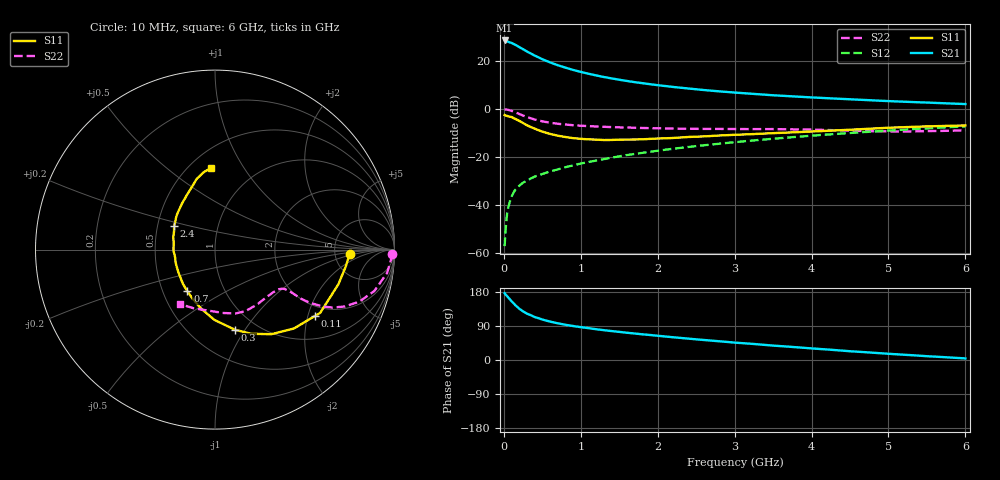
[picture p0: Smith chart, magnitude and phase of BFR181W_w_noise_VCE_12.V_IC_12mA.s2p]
! Infineon Technologies  Discrete & RF Semiconductors
! BFR181W
! VCE =  12. V,  IC =  12 mA
! Common Emitter S-Parameters:  Jan 2017
# GHz  S  MA  R  50
!  f  S11  S21  S12  S22
! GHz  MAG  ANG  MAG  ANG  MAG  ANG  MAG  ANG
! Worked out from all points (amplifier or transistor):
!   77 points, 10 MHz to 6 GHz, reference 50 ohm
!   highest |S21| = 28.5 dB at 10 MHz (marker M1)
!   |S21| within 3 dB of that: start of sweep to 214.4 MHz
!   unconditionally stable (mu >= 1): 1.061 GHz to 2.925 GHz
!   at 130 MHz: K = 0.30, MSG = 30.8 dB, |S12| = -34.6 dB
!   at 2.2 GHz: K = 1.04, MAG = 11.6 dB, |S12| = -16.5 dB
!   at 6 GHz: K = 0.85, MSG = 4.6 dB, |S12| = -7.2 dB
!   lowest NFmin = 1.34 dB at 450 MHz
!   S11 on the Smith chart (normalised r, x): 10 MHz: 6.91, -0.83; 110 MHz: 1.66, -2.22; 300 MHz: 0.80, -0.90; 700 MHz: 0.67, -0.34; 2.4 GHz: 0.61, +0.17; 6 GHz: 0.63, +0.73
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0.01  0.7504 -2.0  26.73 176.3  0.0014 63.3  0.9859 -1.4
0.02  0.7341 -7.5  26.07 173.4  0.0026 88.6  0.9845 -2.8
0.05  0.7141 -15.7  25.38 166.7  0.0079 76.1  0.9678 -7.7
0.1  0.6839 -31.0  23.76 154.8  0.015 74.6  0.9169 -14.6
0.11  0.6686 -33.6  23.29 152.9  0.0162 73.6  0.9036 -15.6
0.15  0.6222 -44.9  21.7 144.5  0.021 70.6  0.8536 -19.9
0.2  0.567 -56.2  19.5 135.5  0.0253 67.9  0.7891 -23.7
0.25  0.5113 -66.6  17.56 128.3  0.0294 64.5  0.7311 -26.2
0.3  0.4603 -76.0  15.75 122.4  0.0324 63.1  0.6799 -27.8
0.4  0.3915 -90.5  12.97 113.4  0.0392 62.3  0.6057 -29.3
0.5  0.3388 -102.9  10.88 106.8  0.0444 62.7  0.5543 -29.7
0.6  0.3036 -113.6  9.355 101.4  0.0503 63.3  0.5191 -29.5
0.7  0.2788 -123.5  8.168 96.9  0.0553 64.9  0.4934 -29.3
0.9  0.248 -140.7  6.514 89.7  0.0672 65.7  0.4611 -29.3
1.1  0.2339 -155.3  5.427 84.0  0.0791 67.2  0.4413 -29.7
1.5  0.2311 -177.4  4.071 74.2  0.1034 67.9  0.4154 -32.5
2.1  0.2462 159.2  3.007 62.0  0.1423 66.9  0.3947 -40.1
2.4  0.2623 150.4  2.672 56.3  0.1625 66.0  0.3885 -45.0
3.1  0.2946 134.0  2.145 44.5  0.2114 62.6  0.3828 -56.7
4.1  0.3461 116.2  1.713 29.2  0.286 56.2  0.3698 -73.9
5.1  0.4132 103.0  1.441 15.2  0.3641 48.2  0.3416 -98.2
6  0.4559 92.8  1.269 4.2  0.437 40.0  0.3608 -122.6
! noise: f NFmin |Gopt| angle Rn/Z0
0.45  1.34  0.1  16  0.21
0.9  1.38  0.1  32  0.21
1.9  1.82  0.07  -151  0.21
2.4  2.01  0.08  -113  0.26
